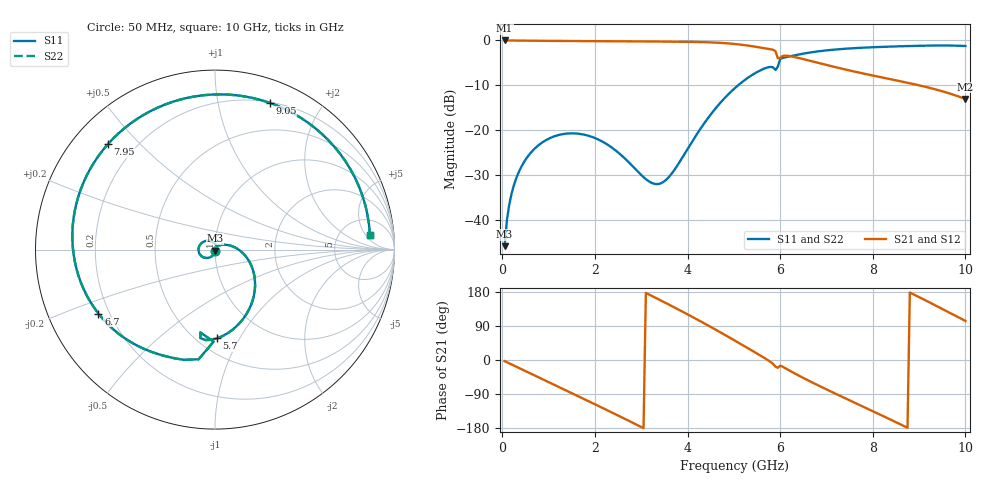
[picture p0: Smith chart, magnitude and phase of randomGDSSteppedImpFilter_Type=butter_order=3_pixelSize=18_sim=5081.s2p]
! freq	dB(S11)	phase(S11)	dB(S12)	phase(S12)
!  dB(S21)	phase(S21)	dB(S22)	phase(S22)
!S-par simulation data
#  GHz  S  DB  R 50
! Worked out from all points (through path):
!   200 points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, 50 MHz to 10 GHz, reference 50 ohm
!   highest |S21| = -0.01 dB at 50 MHz (marker M1); lowest = -13.1 dB at 10 GHz (marker M2)
!   group delay of S21, straight-line fit = 174 ps
!   lowest |S11| = -45.9 dB at 50 MHz (marker M3), VSWR 1.01, Z = 50 - j0.508 ohm
!   |S11| at or under -10 dB: start of sweep to 5.093 GHz
!   |S22| runs from -45.9 to -1.1 dB; largest |S21 - S12| = 0
!   S11 on the Smith chart (normalised r, x): 50 MHz: 1.00, -0.01; 5.7 GHz: 0.62, -0.81; 6.7 GHz: 0.16, -0.25; 7.95 GHz: 0.10, +0.41; 9.05 GHz: 0.21, +1.42; 10 GHz: 10, +6
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0.05  -45.88 -89.1  -0.01 -3.0  -0.01 -3.0  -45.86 -90.0
0.1  -40.08 -93.7  -0.01 -5.9  -0.01 -5.9  -40.06 -93.8
0.2  -34.18 -100.9  -0.02 -11.8  -0.02 -11.8  -34.18 -100.9
0.55  -25.89 -122.6  -0.05 -32.1  -0.05 -32.1  -25.87 -122.7
1.15  -21.29 -158.1  -0.11 -67.0  -0.11 -67.0  -21.29 -158.0
1.75  -20.97 166.6  -0.15 -102.1  -0.15 -102.1  -20.97 166.5
2.65  -26.36 111.9  -0.19 -155.5  -0.19 -155.5  -26.35 111.7
3.4  -31.95 61.9  -0.25 158.6  -0.25 158.6  -31.94 61.5
4.3  -19.38 7.7  -0.37 100.8  -0.37 100.8  -19.38 7.8
4.65  -14.60 -15.1  -0.51 77.1  -0.51 77.1  -14.60 -15.1
5.05  -10.38 -42.5  -0.82 49.2  -0.82 49.2  -10.38 -42.5
5.7  -6.11 -88.7  -1.81 2.4  -1.81 2.4  -6.11 -88.6
5.9  -6.58 -100.1  -2.42 -17.5  -2.42 -17.5  -6.57 -99.9
5.95  -5.81 -90.8  -3.97 -20.7  -3.97 -20.7  -5.79 -90.8
6.05  -3.91 -105.7  -3.49 -17.4  -3.49 -17.4  -3.90 -105.6
6.7  -2.61 -151.2  -4.68 -59.7  -4.68 -59.7  -2.61 -151.2
7.3  -1.93 173.0  -6.22 -95.0  -6.22 -95.0  -1.93 173.1
7.95  -1.54 135.4  -7.72 -132.1  -7.72 -132.1  -1.54 135.5
8.35  -1.38 112.1  -8.58 -155.2  -8.58 -155.2  -1.38 112.1
9.05  -1.18 69.6  -10.13 162.9  -10.13 162.9  -1.18 69.7
9.5  -1.13 40.6  -11.33 134.8  -11.33 134.8  -1.13 40.7
10  -1.24 5.2  -13.06 103.1  -13.06 103.1  -1.24 5.4
